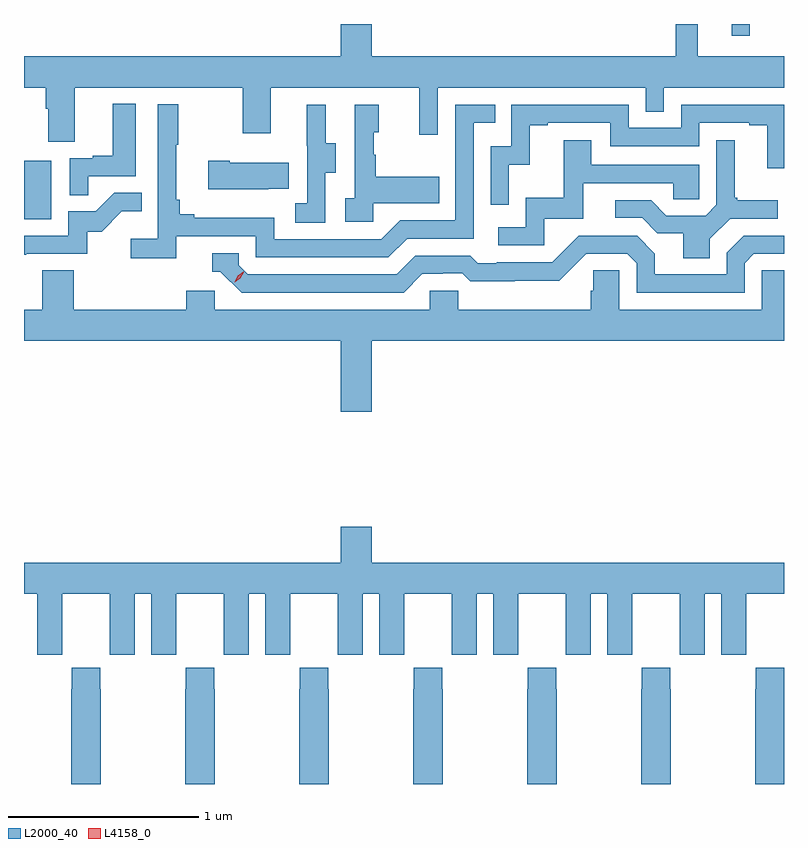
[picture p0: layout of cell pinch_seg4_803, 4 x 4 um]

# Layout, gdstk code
import gdstk
lib = gdstk.Library(unit=1e-6, precision=1e-09)
def R(c, l, rs):  # rectangles x0, y0, x1, y1
    for r in rs: c.add(gdstk.rectangle(r[:2], r[2:], *l))
def P(c, l, *ps):  # polygons
    for p in ps: c.add(gdstk.Polygon(p, *l))
L2000_40 = (2000, 40)
L4158_0 = (4158, 0)

pinch_seg4_803 = lib.new_cell('pinch_seg4_803')
R(pinch_seg4_803, L2000_40, [(798.706,794.796,798.85,795.103), (802.43,795.762,802.527,795.823)])
P(pinch_seg4_803, L2000_40, [(798.973,795.488),(799.858,795.488),(799.858,795.249),(800.005,795.249),(800.005,795.488),(800.786,795.488),(800.786,795.24),(800.883,795.24),(800.883,795.488),(801.978,795.488),(801.978,795.361),(802.074,795.361),(802.074,795.488),(802.706,795.488),(802.706,795.652),(802.253,795.652),(802.253,795.823),(802.135,795.823),(802.135,795.652),(800.536,795.652),(800.536,795.823),(800.372,795.823),(800.372,795.652),(798.706,795.652),(798.706,795.488),(798.821,795.488),(798.821,795.376),(798.833,795.376),(798.833,795.202),(798.973,795.202)],
  [(799.043,795.021),(799.294,795.021),(799.294,795.403),(799.172,795.403),(799.172,795.13),(799.069,795.13),(799.069,795.117),(798.948,795.117),(798.948,794.923),(799.043,794.923)],
  [(799.508,794.706),(799.926,794.706),(799.926,794.595),(800.623,794.595),(800.722,794.694),(801.072,794.694),(801.072,795.303),(801.185,795.303),(801.185,795.399),(800.976,795.399),(800.976,794.79),(800.685,794.79),(800.586,794.691),(800.022,794.691),(800.022,794.803),(799.603,794.803),(799.603,794.822),(799.526,794.822),(799.526,794.899),(799.507,794.899),(799.507,795.187),(799.519,795.187),(799.519,795.4),(799.41,795.4),(799.41,794.692),(799.269,794.692),(799.269,794.59),(799.508,794.59)],
  [(801.258,795.083),(801.368,795.083),(801.368,795.291),(801.463,795.291),(801.463,795.303),(801.792,795.303),(801.792,795.18),(802.26,795.18),(802.26,795.303),(802.523,795.303),(802.523,795.291),(802.619,795.291),(802.619,795.065),(802.706,795.065),(802.706,795.399),(802.164,795.399),(802.164,795.276),(801.888,795.276),(801.888,795.399),(801.27,795.399),(801.27,795.18),(801.162,795.18),(801.162,794.871),(801.258,794.871)],
  [(800.544,794.879),(800.891,794.879),(800.891,795.019),(800.557,795.019),(800.557,795.134),(800.547,795.134),(800.547,795.252),(800.572,795.252),(800.572,795.397),(800.448,795.397),(800.448,794.906),(800.397,794.906),(800.397,794.781),(800.544,794.781)],
  [(800.292,795.04),(800.347,795.04),(800.347,795.195),(800.293,795.195),(800.293,795.397),(800.195,795.397),(800.195,795.183),(800.196,795.183),(800.196,794.879),(800.133,794.879),(800.133,794.776),(800.292,794.776)],
  [(801.444,794.799),(801.649,794.799),(801.649,794.985),(802.123,794.985),(802.123,794.901),(802.26,794.901),(802.26,795.081),(801.691,795.081),(801.691,795.211),(801.547,795.211),(801.547,794.908),(801.348,794.908),(801.348,794.754),(801.201,794.754),(801.201,794.658),(801.444,794.658)],
  [(802.315,794.692),(802.422,794.799),(802.672,794.799),(802.672,794.896),(802.459,794.896),(802.459,794.908),(802.447,794.908),(802.447,795.211),(802.35,795.211),(802.35,794.871),(802.293,794.814),(802.087,794.814),(802.006,794.895),(801.819,794.895),(801.819,794.802),(801.96,794.802),(802.04,794.722),(802.175,794.722),(802.175,794.59),(802.315,794.59)],
  [(799.991,794.957),(800.099,794.957),(800.099,795.094),(799.789,795.094),(799.789,795.102),(799.677,795.102),(799.677,794.954),(799.991,794.954)],
  [(798.719,794.613),(799.038,794.613),(799.038,794.73),(799.114,794.73),(799.221,794.837),(799.325,794.837),(799.325,794.936),(799.182,794.936),(799.084,794.838),(798.939,794.838),(798.939,794.709),(798.706,794.709),(798.706,794.608),(798.719,794.608)],
  [(800.803,794.508),(800.91,794.508),(800.91,794.511),(801.013,794.511),(801.055,794.469),(801.288,794.469),(801.288,794.471),(801.524,794.471),(801.666,794.613),(801.882,794.613),(801.93,794.565),(801.93,794.409),(802.5,794.409),(802.5,794.565),(802.548,794.613),(802.706,794.613),(802.706,794.709),(802.494,794.709),(802.404,794.619),(802.404,794.505),(802.027,794.505),(802.027,794.615),(801.933,794.709),(801.627,794.709),(801.486,794.568),(801.193,794.568),(801.193,794.565),(801.094,794.565),(801.055,794.604),(800.766,794.604),(800.667,794.505),(799.884,794.505),(799.836,794.553),(799.836,794.616),(799.697,794.616),(799.697,794.52),(799.74,794.52),(799.851,794.409),(800.704,794.409)],
  [(800.536,794.156),(802.706,794.156),(802.706,794.528),(802.59,794.528),(802.59,794.32),(801.84,794.32),(801.84,794.528),(801.703,794.528),(801.703,794.418),(801.689,794.418),(801.689,794.32),(800.991,794.32),(800.991,794.418),(800.841,794.418),(800.841,794.32),(799.71,794.32),(799.71,794.418),(799.559,794.418),(799.559,794.32),(798.968,794.32),(798.968,794.528),(798.803,794.528),(798.803,794.32),(798.706,794.32),(798.706,794.156),(800.372,794.156),(800.372,793.782),(800.536,793.782)],
  [(798.906,792.616),(798.907,792.616),(798.907,792.824),(799.157,792.824),(799.157,792.616),(799.158,792.616),(799.158,792.504),(799.288,792.504),(799.288,792.824),(799.376,792.824),(799.376,792.504),(799.506,792.504),(799.506,792.616),(799.507,792.616),(799.507,792.824),(799.757,792.824),(799.757,792.616),(799.758,792.616),(799.758,792.504),(799.888,792.504),(799.888,792.824),(799.976,792.824),(799.976,792.504),(800.106,792.504),(800.106,792.616),(800.107,792.616),(800.107,792.824),(800.357,792.824),(800.357,792.616),(800.358,792.616),(800.358,792.504),(800.488,792.504),(800.488,792.824),(800.576,792.824),(800.576,792.504),(800.706,792.504),(800.706,792.616),(800.707,792.616),(800.707,792.824),(800.957,792.824),(800.957,792.616),(800.958,792.616),(800.958,792.504),(801.088,792.504),(801.088,792.824),(801.176,792.824),(801.176,792.504),(801.306,792.504),(801.306,792.616),(801.307,792.616),(801.307,792.824),(801.557,792.824),(801.557,792.616),(801.558,792.616),(801.558,792.504),(801.688,792.504),(801.688,792.824),(801.776,792.824),(801.776,792.504),(801.906,792.504),(801.906,792.616),(801.907,792.616),(801.907,792.824),(802.157,792.824),(802.157,792.616),(802.158,792.616),(802.158,792.504),(802.288,792.504),(802.288,792.824),(802.376,792.824),(802.376,792.504),(802.506,792.504),(802.506,792.616),(802.507,792.616),(802.507,792.824),(802.706,792.824),(802.706,792.988),(800.536,792.988),(800.536,793.177),(800.372,793.177),(800.372,792.988),(798.706,792.988),(798.706,792.824),(798.776,792.824),(798.776,792.504),(798.906,792.504)],
  [(799.11,792.323),(799.107,792.323),(799.107,792.436),(798.957,792.436),(798.957,792.323),(798.955,792.323),(798.955,791.823),(799.11,791.823)],
  [(799.71,792.323),(799.707,792.323),(799.707,792.436),(799.557,792.436),(799.557,792.323),(799.555,792.323),(799.555,791.823),(799.71,791.823)],
  [(800.91,792.323),(800.907,792.323),(800.907,792.436),(800.757,792.436),(800.757,792.323),(800.755,792.323),(800.755,791.823),(800.91,791.823)],
  [(801.51,792.323),(801.507,792.323),(801.507,792.436),(801.357,792.436),(801.357,792.323),(801.355,792.323),(801.355,791.823),(801.51,791.823)],
  [(802.11,792.323),(802.107,792.323),(802.107,792.436),(801.957,792.436),(801.957,792.323),(801.955,792.323),(801.955,791.823),(802.11,791.823)],
  [(802.706,792.436),(802.557,792.436),(802.557,792.323),(802.555,792.323),(802.555,791.823),(802.706,791.823)],
  [(800.31,792.323),(800.307,792.323),(800.307,792.436),(800.157,792.436),(800.157,792.323),(800.155,792.323),(800.155,791.823),(800.31,791.823)])
P(pinch_seg4_803, L4158_0, [(799.814,794.465),(799.814,794.466),(799.831,794.498),(799.861,794.518),(799.862,794.518),(799.862,794.517),(799.845,794.485),(799.815,794.465)])

lib.write_gds('pinch_seg4_803.gds')
